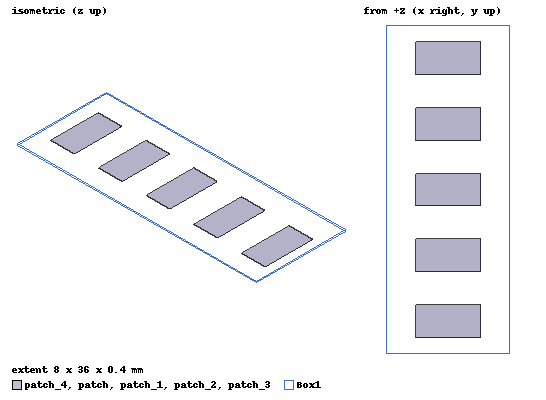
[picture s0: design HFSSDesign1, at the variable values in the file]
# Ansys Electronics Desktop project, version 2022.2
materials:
  vacuum: permittivity=1

design HFSSDesign1 (HFSS, DrivenTerminal, model units mm)
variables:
  b = 15mm
  l = 40mm
  h = 0.2mm
  bp = 8mm
  lp = 4mm
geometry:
  Box1 [vacuum] = box(corner=(- b/2, -l/2, 0mm), size=(b, l, h))
  patch = rectangle(corner=(-bp/2, -lp/2, 0mm), x_size=bp, y_size=lp)
  patch_1, patch_2 = patch.duplicate_along_line(step=(0mm, -8mm, 0mm), total=3)
  patch_3, patch_4 = patch.duplicate_along_line(step=(0mm, 8mm, -0.2mm), total=3)
